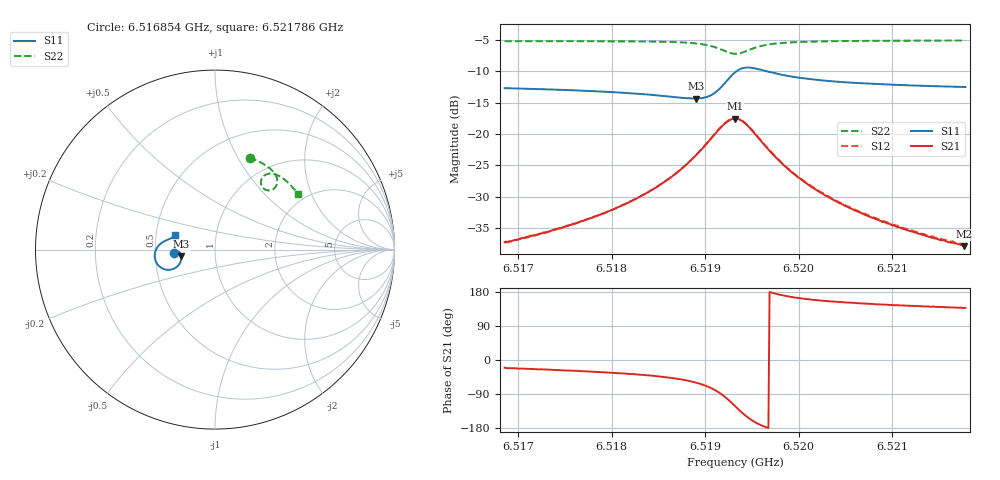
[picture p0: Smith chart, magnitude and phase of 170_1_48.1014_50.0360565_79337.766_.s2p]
#  HZ  S  RI  R  50.00
! Rohde & Schwarz Vector Network Analyzer
! Rohde-Schwarz,ZNB20-2Port,1311601062101988,3.16
! Created: UTC 12/23/2023, 3:51:39 AM
! freq[Hz]  re:S11  im:S11  re:S21  im:S21  re:S12  im:S12  re:S22  im:S22
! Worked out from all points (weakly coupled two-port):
!   401 points, 6.516854 GHz to 6.521786 GHz, reference 50 ohm
!   highest |S21| = -17.54 dB at 6.51932 GHz (marker M1); lowest = -37.9 dB at 6.521774 GHz (marker M2)
!   lowest |S11| = -14.3 dB at 6.518901 GHz (marker M3), VSWR 1.47, Z = 34.1 - j2.57 ohm
!   |S11| at or under -10 dB: start of sweep to 6.519336 GHz; 6.519659 GHz to end of sweep
!   |S22| runs from -7.2 to -5.1 dB; largest |S21 - S12| = 0.0041
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6.5168536e9  -0.2312 -0.0199  0.0129 -0.00476  0.013 -0.00452  0.1929 0.5131
6.5172729e9  -0.227 -0.0135  0.0149 -0.00704  0.0149 -0.00637  0.2239 0.5006
6.5176799e9  -0.2214 -0.00853  0.0178 -0.00992  0.0178 -0.00935  0.254 0.4859
6.5181485e9  -0.2124 -0.00586  0.0225 -0.0162  0.023 -0.0157  0.2893 0.4647
6.5185061e9  -0.2024 -0.00971  0.0283 -0.0267  0.0292 -0.0259  0.3168 0.4422
6.5187157e9  -0.1946 -0.0186  0.0325 -0.0388  0.0338 -0.0378  0.3331 0.423
6.5189007e9  -0.1883 -0.0363  0.0343 -0.0582  0.0362 -0.0574  0.3449 0.3982
6.5190117e9  -0.1887 -0.0558  0.0306 -0.0771  0.033 -0.0767  0.347 0.377
6.519098e9  -0.1966 -0.0773  0.02 -0.0964  0.0232 -0.0966  0.3418 0.3566
6.5192337e9  -0.2416 -0.1108  -0.0252 -0.1225  -0.0218 -0.124  0.3078 0.3305
6.51932e9  -0.2909 -0.1059  -0.0692 -0.1132  -0.0664 -0.116  0.2744 0.3379
6.5193817e9  -0.3201 -0.0825  -0.0926 -0.0896  -0.0907 -0.093  0.2587 0.3575
6.5194433e9  -0.3343 -0.0516  -0.1018 -0.0615  -0.1007 -0.0647  0.2558 0.3805
6.519542e9  -0.3321 -0.00911  -0.0954 -0.0254  -0.0954 -0.0284  0.2696 0.4078
6.519653e9  -0.3165 0.0197  -0.0789 -0.00347  -0.0795 -0.00594  0.2921 0.421
6.5198873e9  -0.2867 0.044  -0.0515 0.0111  -0.0524 0.00976  0.3306 0.421
6.5201463e9  -0.267 0.0536  -0.0352 0.0133  -0.0359 0.0125  0.3596 0.4093
6.5205162e9  -0.2506 0.0606  -0.0233 0.0126  -0.0239 0.012  0.3894 0.3886
6.5209725e9  -0.2382 0.0674  -0.0159 0.0109  -0.0164 0.0106  0.4185 0.3618
6.5214041e9  -0.2298 0.0734  -0.0118 0.00956  -0.0123 0.0095  0.442 0.3357
6.5217741e9  -0.2236 0.0785  -0.00943 0.00864  -0.00993 0.00856  0.4598 0.3128
6.5217864e9  -0.2233 0.0788  -0.00945 0.00864  -0.00988 0.00858  0.4602 0.3122
